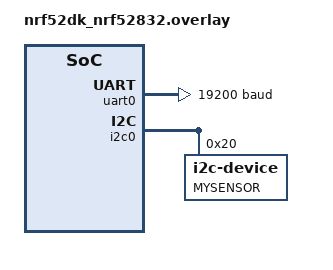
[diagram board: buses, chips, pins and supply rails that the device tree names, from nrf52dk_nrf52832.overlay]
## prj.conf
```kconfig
CONFIG_MYFUNCTION=n
CONFIG_LOG=y
#CONFIG_LOG_BACKEND_SHOW_COLOR=y
CONFIG_LOG_MODE_MINIMAL=y
CONFIG_UART_ASYNC_API=y
CONFIG_I2C=y
CONFIG_CLOCK_CONTROL_NRF_K32SRC_RC=y
CONFIG_CLOCK_CONTROL_NRF_K32SRC_XTAL=n
```

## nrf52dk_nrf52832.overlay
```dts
// To get started, press Ctrl+Space to bring up the completion menu and view the available nodes.

// You can also use the buttons in the sidebar to perform actions on nodes.
// Actions currently available include:

// * Enabling / disabling the node
// * Adding the bus to a bus
// * Removing the node
// * Connecting ADC channels

// For more help, browse the DeviceTree documentation at https://docs.zephyrproject.org/latest/guides/dts/index.html
// You can also visit the nRF DeviceTree extension documentation at https://docs.nordicsemi.com/bundle/nrf-connect-vscode/page/guides/ncs_configure_app.html#devicetree-support-in-the-extension
&uart0 {
	current-speed = <19200>;
};

&i2c0 {
	    mysensor: mysensor@20{
        compatible = "i2c-device";
        reg = < 0x20 >;
        label = "MYSENSOR";
    };

	zephyr,pm-device-runtime-auto;
	easydma-maxcnt-bits = <7>;
};

&i2c0_default {
	group1 {
		psels = <NRF_PSEL(TWIM_SDA, 0, 26)>, <NRF_PSEL(TWIM_SCL, 0, 27)>;
		bias-pull-up;
	};
};
```

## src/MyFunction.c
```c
#include "myFunction.h"

int sum(int a, int b){
    return a+b;
}
```
